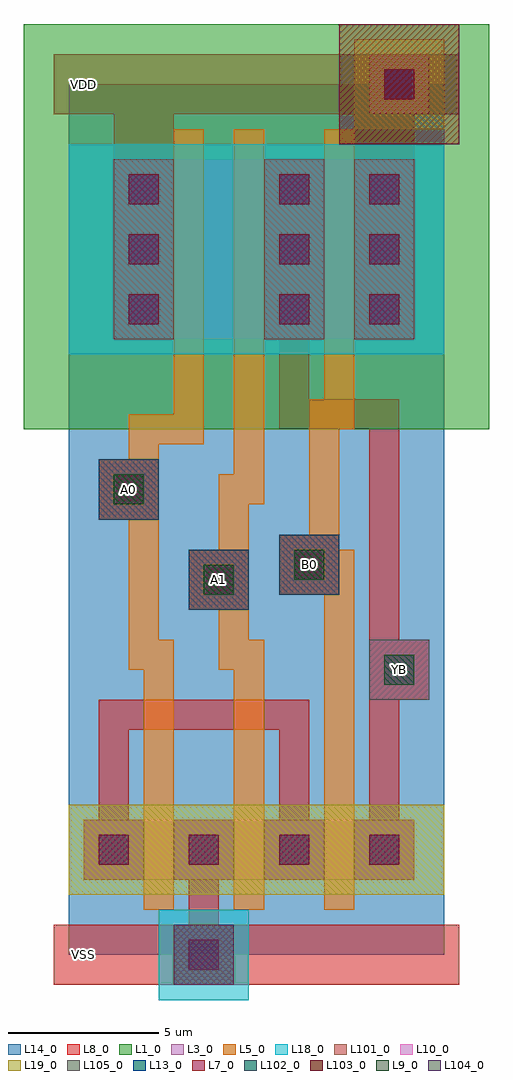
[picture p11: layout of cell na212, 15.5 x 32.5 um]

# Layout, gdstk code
import gdstk
lib = gdstk.Library(unit=1e-6, precision=1e-09)
def R(c, l, rs):  # rectangles x0, y0, x1, y1
    for r in rs: c.add(gdstk.rectangle(r[:2], r[2:], *l))
L1_0 = (1, 0)
L3_0 = (3, 0)
L5_0 = (5, 0)
L7_0 = (7, 0)
L8_0 = (8, 0)
L9_0 = (9, 0)
L10_0 = (10, 0)
L13_0 = (13, 0)
L14_0 = (14, 0)
L18_0 = (18, 0)
L19_0 = (19, 0)
L101_0 = (101, 0)
L102_0 = (102, 0)
L103_0 = (103, 0)
L104_0 = (104, 0)
L105_0 = (105, 0)

via = lib.new_cell('Via')
R(via, L8_0, [(-1,-1,1,1)])
R(via, L9_0, [(-0.5,-0.5,0.5,0.5)])
R(via, L10_0, [(-1,-1,1,1)])
R(via, L13_0, [(-0.5,-0.5,0.5,0.5)])
R(via, L105_0, [(-1,-1,1,1)])
via.add(gdstk.Label('via', (0,0), layer=13, texttype=0))

dcont = lib.new_cell('dcont')
R(dcont, L3_0, [(-1,-1,1,1)])
R(dcont, L7_0, [(-0.5,-0.5,0.5,0.5)])
R(dcont, L8_0, [(-1,-1,1,1)])
R(dcont, L13_0, [(-0.5,-0.5,0.5,0.5)])
R(dcont, L101_0, [(-1,-1,1,1)])
dcont.add(gdstk.Label('dcont', (0,0), layer=13, texttype=0))

pcont = lib.new_cell('pcont')
R(pcont, L5_0, [(-1,-1,1,1)])
R(pcont, L7_0, [(-0.5,-0.5,0.5,0.5)])
R(pcont, L8_0, [(-1,-1,1,1)])
R(pcont, L102_0, [(-1,-1,1,1)])
pcont.add(gdstk.Label('pcont', (0,0), layer=13, texttype=0))

psubcont = lib.new_cell('psubcont')
R(psubcont, L18_0, [(-1.5,-1.5,1.5,1.5)])
R(psubcont, L104_0, [(-1,-1,1,1)])
psubcont.add(gdstk.Reference(dcont, (0,0)))
psubcont.add(gdstk.Label('PScon', (0,0), layer=13, texttype=0))

nsubcont = lib.new_cell('nsubcont')
R(nsubcont, L1_0, [(-2,-2,2,2)])
R(nsubcont, L19_0, [(-1.5,-1.5,1.5,1.5)])
R(nsubcont, L103_0, [(-2,-2,2,2)])
nsubcont.add(gdstk.Reference(dcont, (0,0)))
nsubcont.add(gdstk.Label('NScont', (0,0), layer=13, texttype=0))

na212 = lib.new_cell('na212')
R(na212, L1_0, [(-1.5,17.5,14,31)])
R(na212, L3_0, [(0.5,2.5,8.5,4.5), (8.5,2.5,11.5,4.5), (1.5,20.5,11.5,26.5)])
R(na212, L8_0, [(-0.5,-1,13,1), (-0.5,-1,13,1), (10,8.5,12,10.5), (10,8.5,12,10.5), (4,11.5,6,13.5), (4,11.5,6,13.5), (4,11.5,6,13.5), (4,11.5,6,13.5), (4,11.5,6,13.5), (7,12,9,14), (7,12,9,14), (1,14.5,3,16.5), (1,14.5,3,16.5), (-0.5,28,13,30), (-0.5,28,13,30)])
R(na212, L10_0, [(10,8.5,12,10.5), (10,8.5,12,10.5), (4,11.5,6,13.5), (4,11.5,6,13.5), (4,11.5,6,13.5), (7,12,9,14), (7,12,9,14), (1,14.5,3,16.5), (1,14.5,3,16.5)])
R(na212, L14_0, [(0,0,12.5,29)])
R(na212, L18_0, [(0,20,12.5,27)])
R(na212, L19_0, [(0,2,12.5,5)])
R(na212, L105_0, [(10,8.5,12,10.5), (4,11.5,6,13.5), (4,11.5,6,13.5), (7,12,9,14), (1,14.5,3,16.5)])
na212.add(gdstk.FlexPath([(9,27),(9,18),(8.5,18),(8.5,13),(9,13),(9,2)], 1, ends="extended", simple_path=True, layer=5, datatype=0))  # L5_0
na212.add(gdstk.FlexPath([(6,27),(6,15.5),(5.5,15.5),(5.5,10),(6,10),(6,2)], 1, ends="extended", simple_path=True, layer=5, datatype=0))  # L5_0
na212.add(gdstk.FlexPath([(4,27),(4,17.5),(2.5,17.5),(2.5,10),(3,10),(3,2)], 1, ends="extended", simple_path=True, layer=5, datatype=0))  # L5_0
na212.add(gdstk.FlexPath([(2.5,21.5),(2.5,28.5)], 2, ends="extended", simple_path=True, layer=8, datatype=0))  # L8_0
na212.add(gdstk.FlexPath([(4.5,1),(4.5,3.5)], 1, ends="extended", simple_path=True, layer=8, datatype=0))  # L8_0
na212.add(gdstk.FlexPath([(7.5,3.5),(7.5,8),(1.5,8),(1.5,3.5)], 1, ends="extended", simple_path=True, layer=8, datatype=0))  # L8_0
na212.add(gdstk.FlexPath([(7.5,22.3),(7.5,25.5)], 1.4, ends="extended", simple_path=True, layer=8, datatype=0))  # L8_0
na212.add(gdstk.FlexPath([(7.5,20.5),(7.5,18),(10.5,18),(10.5,3.5)], 1, ends="extended", simple_path=True, layer=8, datatype=0))  # L8_0
na212.add(gdstk.FlexPath([(10.5,21.5),(10.5,28.5)], 2, ends="extended", simple_path=True, layer=8, datatype=0))  # L8_0
na212.add(gdstk.Reference(via, (11,9.5)))
na212.add(gdstk.Reference(via, (2,15.5)))
na212.add(gdstk.Reference(dcont, (7.5,23.5)))
na212.add(gdstk.Reference(dcont, (1.5,3.5)))
na212.add(gdstk.Reference(via, (5,12.5)))
na212.add(gdstk.Reference(dcont, (7.5,3.5)))
na212.add(gdstk.Reference(dcont, (7.5,25.5)))
na212.add(gdstk.Reference(pcont, (5,12.5)))
na212.add(gdstk.Reference(dcont, (10.5,25.5)))
na212.add(gdstk.Reference(dcont, (2.5,21.5)))
na212.add(gdstk.Reference(pcont, (2,15.5)))
na212.add(gdstk.Reference(dcont, (4.5,3.5)))
na212.add(gdstk.Reference(dcont, (10.5,3.5)))
na212.add(gdstk.Reference(dcont, (2.5,23.5)))
na212.add(gdstk.Reference(via, (8,13)))
na212.add(gdstk.Reference(psubcont, (4.5,0)))
na212.add(gdstk.Reference(dcont, (10.5,21.5)))
na212.add(gdstk.Reference(dcont, (2.5,25.5)))
na212.add(gdstk.Reference(nsubcont, (11,29)))
na212.add(gdstk.Reference(dcont, (10.5,23.5)))
na212.add(gdstk.Reference(pcont, (8,13)))
na212.add(gdstk.Reference(dcont, (7.5,21.5)))
na212.add(gdstk.Reference(pcont, (5,12.5)))
na212.add(gdstk.Reference(via, (5,12.5)))
na212.add(gdstk.Label('VSS', (0.5,0), layer=8, texttype=0))
na212.add(gdstk.Label('VDD', (0.5,29), layer=8, texttype=0))
na212.add(gdstk.Label('YB', (11,9.5), layer=10, texttype=0))
na212.add(gdstk.Label('B0', (8,13), layer=10, texttype=0))
na212.add(gdstk.Label('A0', (2,15.5), layer=10, texttype=0))
na212.add(gdstk.Label('A1', (5,12.5), layer=10, texttype=0))

lib.write_gds('na212.gds')
